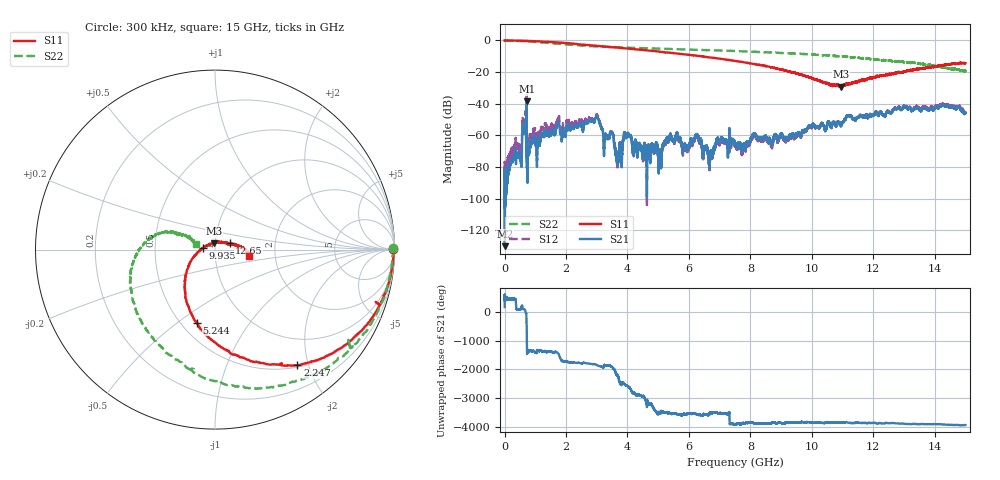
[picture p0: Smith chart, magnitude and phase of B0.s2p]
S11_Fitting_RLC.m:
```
%% Data import
file_path = 'Users/haoqindeng/Desktop/Qtransduction/AlScNi/RT';
file_name = 'B0.s2p';
whole_file = strcat(file_path, file_name);
file = dir("454T/B10.s2p");
%%
listing(:,1) = dir('RT/B0.s2p');
N = length(listing(:,1));
%%
 for i = 1:1
    for k = 1:1
      S(k,i).s11(:) = sparameters(listing(k,i).name).Parameters(1,1,:);
%       name(k,i,:) = listing(k,i).name;
    end
 end
freq = sparameters(listing(1,1).name).Frequencies*1e-9; %convert to GHz
N = length(freq);
%% Data import
ind_plot_i = 1;
ind_plot_k = 1:1;
disp(ind_plot_k);
%% Data import
figure
for i = ind_plot_i
    for k = ind_plot_k
      subplot(length(ind_plot_i),1,i+1-min(ind_plot_i))
      plot(freq,abs(S(k,i).s11(:)))
      legend show
      hold on
    end
end
%% 
inc = 1;
inr = 1;
%% Initialization of the data to be fitted
for m = 1:length(inc)
Rchar = 50;   % internal resistance 50 ohm
S11 = S(inc(m),inr).s11;   % select the data
S11 = S11./max(abs(S11));
frs = 0.71;     % start of the resonance frequency (GHz)
fre = 0.74;     % end of the resonance (GHz)
ffs = 0.2;     % start of the fitting frequencyng frequency (GHz)
ffe = 1.5;     % end of the fitting (GHz)
Z0ff = zeros(N,1);   % initialize the fitting impedance of the idt without load
Z0 = zeros(N,1);   % initialize the impedance of the idt with load

% Initialize the fitting parameter
Rsf0 = 1e-6;   % Rs fit Initial value
Rlf0 = 2000;
Clf0 = 1e-3;
Lsf0 = 0.8;
% Least square fitting function
S11_bg = S11;
Z0 = Rchar * (1+S11)./(1-S11);
[Rs,Ls,Rl,Ce,Z0f] = Z0_fit(0,freq,Z0,frs,fre,ffs,ffe,Rsf0,Lsf0,Rlf0,Clf0,1.5) ;
Rsp(m) = Rs;
Lsp(m) = Ls;
Rlp(m) = Rl;
Cep(m) = Ce;

% Rs = 1e-10;%Rs;
% Ls = 0.846;%Ls;
% Rl = 1e13;%Rl;
% Ce = 0.00076;%Ce;
ind = find((freq-0).*(freq-fre)<0);
% fit S11 plot
figure('Position',[50 50 600 450],'Color',[1 1 1])
S11_bg = (Z0f-Rchar)./(Z0f+Rchar);
smithplot(S11(ind),'LineWidth',2.5,'FontSize',14,'Color',[0.1216,0.4667,0.7059]);
hold on
smithplot(S11_bg(ind),'LineWidth',2.5,'FontSize',14,'Color',[1,0.498,0.0549]);
% legend('S11','S11 fit')
set(gca,'FontSize',20)
grid on
%% Ya fitting
Y = 1./(Z0-Rs-1i*Ls.*freq')-(1/Rl+1i*freq'.*Ce);   
[Rm,Lm,Cm] = Y_fit(freq,Y,frs,fre);
Yf = 1./(Rm+1i.*freq'.*Lm-1i./freq'./Cm);
Z_fit = Rs+1i*Ls.*freq'+1./(1/Rl+1i.*freq'.*Ce+Yf);
S11_fit = (Z_fit-Rchar)./(Z_fit+Rchar);
%% Fitted S11
figure('Position',[100 100 600 450])
subplot(2,1,1)
plot(freq,real(S11),freq,real(S11_fit),'--')

xlim([frs,fre])
subplot(2,1,2)
plot(freq,imag(S11),freq,imag(S11_fit),'--')
xlim([frs,fre])
%% Calculate power
Pin = 1-abs(S11).^2;
Prs = real(Rs./Z0).*Pin;
Prl =  real(Z0-Rs)./real(Z0).*real(1/Rl)./real(1./(Z0-Rs)).*Pin;
Pyb =  real(Z0-Rs)./real(Z0).*real(Yf)./real(1./(Z0-Rs)).*Pin;
% Prl =  real(1/Rl).*real(Z0).*abs(1-Rs./Z0).^2.*Pin;
% Pyb = real(Y).*real(Z0).*abs(1-Rs./Z0).^2.*Pin;
ind = find(freq<3);
Pyb_max(m) = max(Pyb(ind));
end

%% PLOT
figure('Position',[100 100 600 450])
set(gcf,'defaultAxesColorOrder',[[0,0,0]; [0,0,0]]);
% yyaxis left
subplot(2,1,1)
plot(freq,abs(S11),'LineWidth',1.5,'Color',[1,1,1].*0.7)
hold on
plot(freq,abs(S11_fit),'--','LineWidth',1.5,'Color','#015c92')
legend('Measured','Fitted')
ylabel('|S11| (a.u.)')
xlim([frs,fre])
grid on
set(gca,'FontSize',12,'FontName','Arial')
subplot(2,1,2)
plot(freq,Pyb.*100,'LineWidth',1.5,'Color','#f27f0b')
hold on
plot(freq,Prs.*100,'LineWidth',1.5,'Color',[1,1,1].*0.5)
legend('P_Y','P_{Rs}')
xlim([frs,fre])
xlabel('Frequency (GHz)');
ylabel('Efficiency (%)')
set(gca,'FontSize',12,'FontName','Arial')
grid on
%%
fpair = 30:30:300;
figure
subplot(4,1,1)
plot(fpair,flip(Rsp),'.-','MarkerSize',15)
ylabel('Rs (Ohm)')
xticklabels([]);
set(gca,'FontSize',12,'FontName','Arial')
subplot(4,1,2)
plot(fpair,flip(Rlp),'.-','MarkerSize',15)
ylabel('Rl (Ohm)')
xticklabels([]);
set(gca,'FontSize',12,'FontName','Arial')
subplot(4,1,3)
plot(fpair,flip(Cep),'.-','MarkerSize',15)
ylabel('Ce (nF)')
set(gca,'FontSize',12,'FontName','Arial')
subplot(4,1,4)
plot(fpair,flip(Pyb_max.*100),'.-','MarkerSize',15)
ylabel('Efficiency (%)')
set(gca,'FontSize',12,'FontName','Arial')
xlabel('IDT finger (pair)')
```
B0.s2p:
!Agilent Technologies,N5230C,SG49000117,A.08.50.07
!Agilent N5230C: A.08.50.07
!Date: Monday, December 11, 2023 21:11:51
!Correction: S11(Full 2 Port(1,2))
!S21(Full 2 Port(1,2))
!S12(Full 2 Port(1,2))
!S22(Full 2 Port(1,2))
!S2P File: Measurements: S11, S21, S12, S22:
# Hz S  RI  R 50
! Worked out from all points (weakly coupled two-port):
!   20001 points, 300 kHz to 15 GHz, reference 50 ohm
!   highest |S21| = -38.35 dB at 721.8 MHz (marker M1); lowest = -129.9 dB at 8.55 MHz (marker M2)
!   lowest |S11| = -29.2 dB at 10.95 GHz (marker M3), VSWR 1.07, Z = 49.3 + j3.38 ohm
!   |S11| at or under -10 dB: 6.403289 GHz to 6.405095 GHz (1.806 MHz wide, 0.0282 % of centre); 6.405 GHz to end of sweep
!   |S22| runs from -19.5 to 0.0 dB; largest |S21 - S12| = 0.011
!   S11 on the Smith chart (normalised r, x): 300 kHz: open; 2.247 GHz: 0.53, -1.82; 5.244 GHz: 0.60, -0.59; 9.935 GHz: 0.87, +0.02; 12.65 GHz: 1.17, +0.08; 15 GHz: 1.46, -0.11
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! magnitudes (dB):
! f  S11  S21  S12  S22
! 300 kHz  -0.1  -87.6  -80.4  -0.1
! 8.55 MHz  0.0  -129.9  -90.4  -0.1
! 721.8 MHz  -0.5  -38.3  -33.1  -0.9
! 2.247 GHz  -2.0  -55.7  -53.6  -2.8
! 3.663 GHz  -4.5  -77.6  -76.8  -4.3
! 5.244 GHz  -7.6  -63.7  -64.4  -5.4
! 7.5 GHz  -12.9  -65.1  -66.2  -6.7
! 9.935 GHz  -23.3  -53.8  -54.3  -8.8
! 10.95 GHz  -29.2  -53.7  -53.5  -10.1
! 12.65 GHz  -21.1  -43.8  -43.5  -12.9
! 15 GHz  -14.3  -46.0  -45.4  -19.0
